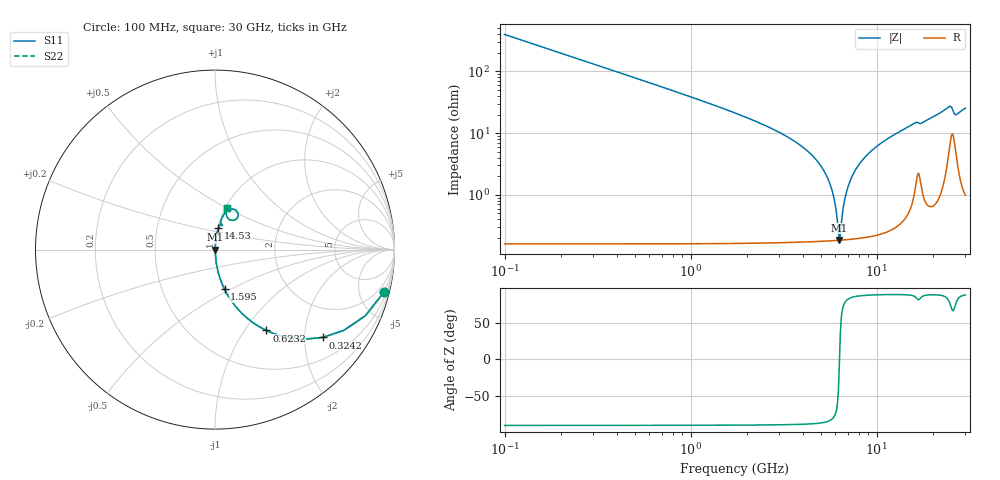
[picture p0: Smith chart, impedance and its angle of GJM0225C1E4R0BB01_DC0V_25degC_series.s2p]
!Murata Part Number: GJM0225C1E4R0BB01
!These Parameters are Measured in Series Mode Connection
!  o--ll--o
!Port1  Port2
!  o------o
!Operation Temp=25[degC], DC Bias Voltage=0[V]
!Freq. Start=100[MHz] Stop=30[GHz], 401[Steps]
!Data Generated on Feb 1, 2023
# Hz S RI R 50
!Freq.(Hz) S11(Real) S11(Imag) S21(Real) S21(Imag) S12(Real) S12(Imag) S22(Real) S22(Imag)
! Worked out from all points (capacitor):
!   401 points, 100 MHz to 30 GHz, reference 50 ohm
!   read as one part in series: C = 4 pF near 249.5 MHz
!   lowest |Z| = 185 mohm at 6.304 GHz (marker M1)
!   series resonance near 6.314 GHz, so ESL is about 160 pH
!   S11 on the Smith chart (normalised r, x): 100 MHz: 1.00, -7.96; 324.2 MHz: 1.00, -2.45; 623.2 MHz: 1.00, -1.26; 1.595 GHz: 1.00, -0.47; 14.53 GHz: 1.01, +0.25; 30 GHz: 1.02, +0.51
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1e8  0.9405 -0.2364  0.0595 0.2364  0.0595 0.2364  0.9405 -0.2364
3.2425e8  0.5995 -0.4893  0.4005 0.4893  0.4005 0.4893  0.5995 -0.4893
6.2325e8  0.286 -0.4506  0.714 0.4506  0.714 0.4506  0.286 -0.4506
9.97e8  0.1326 -0.337  0.8674 0.337  0.8674 0.337  0.1326 -0.337
1.595e9  0.0531 -0.2208  0.9469 0.2208  0.9469 0.2208  0.0531 -0.2208
4.1365e9  0.00472 -0.0546  0.9953 0.0546  0.9953 0.0546  0.00472 -0.0546
5.10825e9  0.00249 -0.0269  0.9975 0.0269  0.9975 0.0269  0.00249 -0.0269
5.781e9  0.00193 -0.0111  0.9981 0.0111  0.9981 0.0111  0.00193 -0.0111
6.00525e9  0.00185 -0.00631  0.9981 0.00631  0.9981 0.00631  0.00185 -0.00631
6.2295e9  0.00183 -0.00169  0.9982 0.00169  0.9982 0.00169  0.00183 -0.00169
6.30425e9  0.00183 -0.000187  0.9982 0.000187  0.9982 0.000187  0.00183 -0.000187
6.45375e9  0.00185 0.00277  0.9981 -0.00277  0.9981 -0.00277  0.00185 0.00277
6.8275e9  0.00197 0.00988  0.998 -0.00988  0.998 -0.00988  0.00197 0.00988
7.4255e9  0.00234 0.0206  0.9977 -0.0206  0.9977 -0.0206  0.00234 0.0206
8.472e9  0.00343 0.0377  0.9966 -0.0377  0.9966 -0.0377  0.00343 0.0377
1.01165e10  0.00608 0.0619  0.9939 -0.0619  0.9939 -0.0619  0.00608 0.0619
1.452675e10  0.0191 0.1199  0.9809 -0.1199  0.9809 -0.1199  0.0191 0.1199
1.505e10  0.0219 0.1267  0.9781 -0.1267  0.9781 -0.1267  0.0219 0.1267
2.005825e10  0.0384 0.1752  0.9616 -0.1752  0.9616 -0.1752  0.0384 0.1752
2.50665e10  0.1256 0.2078  0.8744 -0.2078  0.8744 -0.2078  0.1256 0.2078
2.648675e10  0.0826 0.1665  0.9174 -0.1665  0.9174 -0.1665  0.0826 0.1665
3e10  0.0688 0.2344  0.9312 -0.2344  0.9312 -0.2344  0.0688 0.2344
